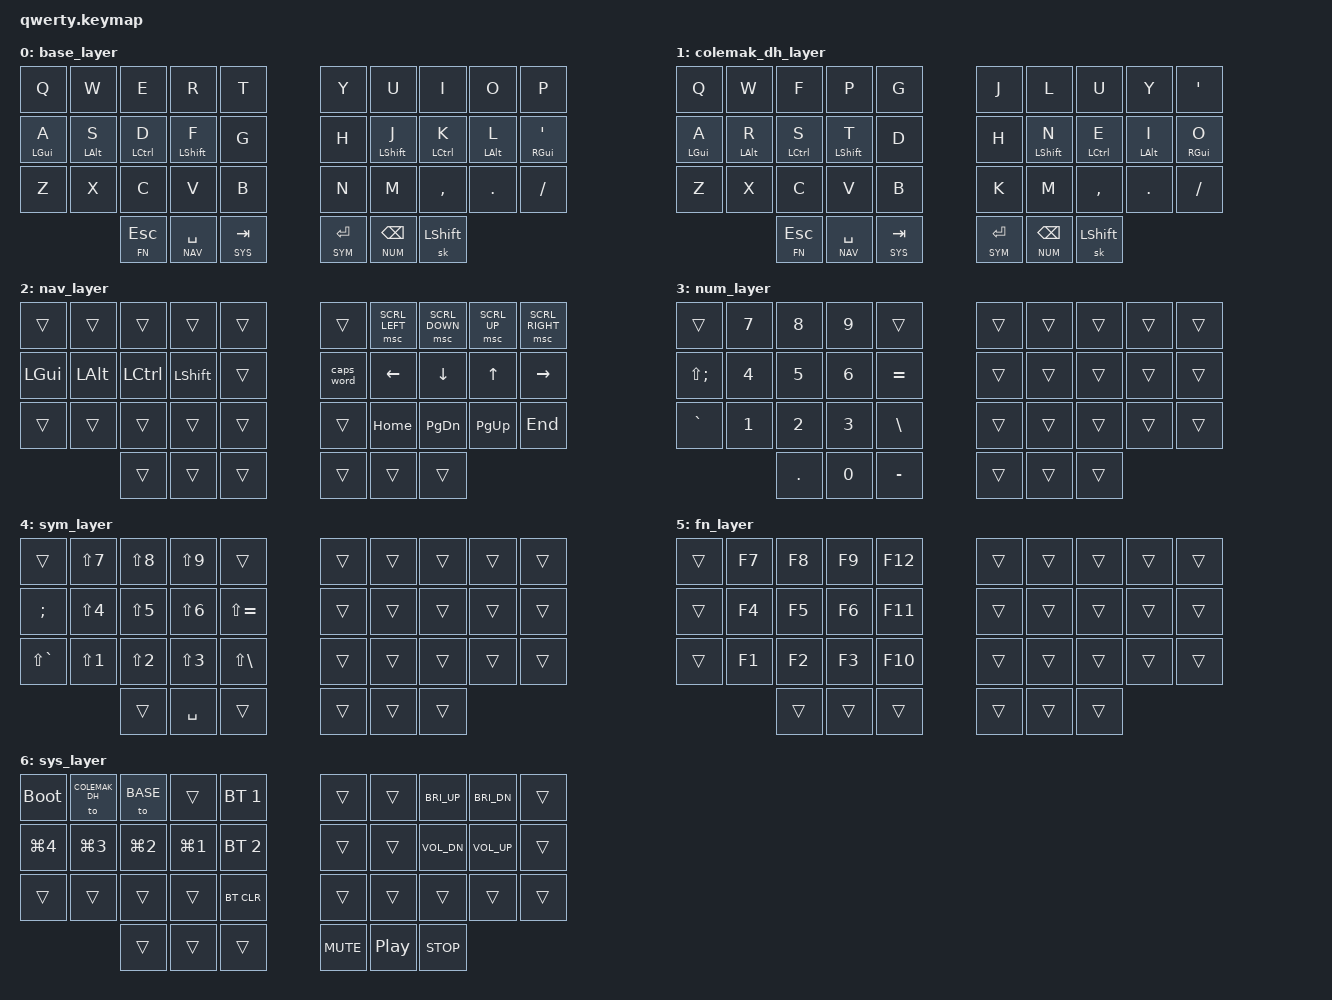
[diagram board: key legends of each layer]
#include <behaviors.dtsi>
#include <dt-bindings/zmk/bt.h>
#include <dt-bindings/zmk/keys.h>
#include <dt-bindings/zmk/mouse.h>
#include <dt-bindings/zmk/outputs.h>
#include <dt-bindings/zmk/ext_power.h>
#include <behaviors/mouse_keys.dtsi>

#define BASE 0
#define COLEMAK_DH 1
#define NAV  2
#define NUM  3
#define SYM  4
#define FN   5
#define SYS  6

/ {
    behaviors {
        hml: homerow_mods_left {
            compatible = "zmk,behavior-hold-tap";
            #binding-cells = <2>;
            tapping-term-ms = <200>;
            quick-tap-ms = <175>;
            require-prior-idle-ms = <300>;
            flavor = "balanced";
            bindings = <&kp>, <&kp>;
        };
        
        hmr: homerow_mods_right {
            compatible = "zmk,behavior-hold-tap";
            #binding-cells = <2>;
            tapping-term-ms = <200>;
            quick-tap-ms = <175>;
            require-prior-idle-ms = <300>;
            flavor = "balanced";
            bindings = <&kp>, <&kp>;
        };
    };

    combos {
        compatible = "zmk,combos";

        /* Left Hand Horizontal Combos */
        combo_ds_save {
            timeout-ms = <50>;
            key-positions = <11 12>;
            bindings = <&kp LC(S)>;
        };

        combo_dfg_cut {
            timeout-ms = <50>;
            key-positions = <12 13 14>;
            bindings = <&kp LC(LS(F))>;
        };

        combo_zx_copy {
            timeout-ms = <50>;
            key-positions = <21 22>;
            bindings = <&kp LC(Z)>;
        };

        combo_xc_copy {
            timeout-ms = <50>;
            key-positions = <22 23>;
            bindings = <&kp LC(X)>;
        };

        combo_cv_undo {
            timeout-ms = <50>;
            key-positions = <23 24>;
            bindings = <&kp LC(C)>;
        };

        combo_vb_undo {
            timeout-ms = <50>;
            key-positions = <24 25>;
            bindings = <&kp LC(V)>;
        };

        /* Right Hand Horizontal Combos */
        combo_ui_bksp {
            timeout-ms = <50>;
            key-positions = <6 7>;
            bindings = <&kp BSPC>;
        };

        combo_io_del {
            timeout-ms = <50>;
            key-positions = <7 8>;
            bindings = <&kp DEL>;
        };

        combo_jk_lparen {
            timeout-ms = <50>;
            key-positions = <16 17>;
            bindings = <&kp LPAR>;
        };

        combo_kl_rparen {
            timeout-ms = <50>;
            key-positions = <17 18>;
            bindings = <&kp RPAR>;
        };

        combo_mcom_lbrack {
            timeout-ms = <50>;
            key-positions = <27 28>;
            bindings = <&kp LBKT>;
        };

        combo_comdot_rbrack {
            timeout-ms = <50>;
            key-positions = <28 29>;
            bindings = <&kp RBKT>;
        };

        /* Right Hand Vertical Combos */
        combo_jm_dash {
            timeout-ms = <50>;
            key-positions = <16 27>;
            bindings = <&kp MINUS>;
        };

        combo_hn_unds {
            timeout-ms = <50>;
            key-positions = <15 26>;
            bindings = <&kp UNDER>;
        };

        combo_kcom_semi {
            timeout-ms = <50>;
            key-positions = <17 28>;
            bindings = <&kp SEMI>;
        };

        combo_ldot_coln {
            timeout-ms = <50>;
            key-positions = <18 29>;
            bindings = <&kp COLON>;
        };

        combo_slash_ques {
            timeout-ms = <50>;
            key-positions = <19 30>;
            bindings = <&kp QUESTION>;
        };
    };

    keymap {
        compatible = "zmk,keymap";

        base_layer {
            bindings = <
                &kp Q           &kp W           &kp E           &kp R           &kp T               &kp Y           &kp U           &kp I           &kp O           &kp P
                &hml LGUI A     &hml LALT S     &hml LCTRL D    &hml LSHFT F    &kp G               &kp H           &hmr LSHFT J    &hmr LCTRL K    &hmr LALT L     &hmr RGUI SQT
                &kp Z           &kp X           &kp C           &kp V           &kp B               &kp N           &kp M           &kp COMMA       &kp DOT         &kp FSLH           
                                                &lt FN ESC      &lt NAV SPACE   &lt SYS TAB         &lt SYM ENTER   &lt NUM BSPC    &sk LSHFT
            >;
        };

        colemak_dh_layer {
            bindings = <
                &kp Q           &kp W           &kp F           &kp P           &kp G               &kp J           &kp L           &kp U           &kp Y           &kp SQT
                &hml LGUI A     &hml LALT R     &hml LCTRL S    &hml LSHFT T    &kp D               &kp H           &hmr LSHFT N    &hmr LCTRL E    &hmr LALT I     &hmr RGUI O
                &kp Z           &kp X           &kp C           &kp V           &kp B               &kp K           &kp M           &kp COMMA       &kp DOT         &kp FSLH           
                                                &lt FN ESC      &lt NAV SPACE   &lt SYS TAB         &lt SYM ENTER   &lt NUM BSPC    &sk LSHFT
            >;
        };

        nav_layer {
            bindings = <
                &trans          &trans          &trans          &trans          &trans              &trans          &msc SCRL_LEFT  &msc SCRL_DOWN  &msc SCRL_UP    &msc SCRL_RIGHT
                &kp LGUI        &kp LALT        &kp LCTRL       &kp LSHFT       &trans              &caps_word      &kp LEFT        &kp DOWN        &kp UP          &kp RIGHT
                &trans          &trans          &trans          &trans          &trans              &trans          &kp HOME        &kp PG_DN       &kp PG_UP       &kp END            
                                                &trans          &trans          &trans              &trans          &trans          &trans
            >;
        };

        num_layer {
            bindings = <
                &trans          &kp N7          &kp N8          &kp N9          &trans              &trans          &trans          &trans          &trans          &trans
                &kp LS(SEMI)    &kp N4          &kp N5          &kp N6          &kp EQUAL           &trans          &trans          &trans          &trans          &trans
                &kp GRAVE       &kp N1          &kp N2          &kp N3          &kp BSLH            &trans          &trans          &trans          &trans          &trans         
                                                &kp DOT         &kp N0          &kp MINUS           &trans          &trans          &trans 
            >;
        };

        sym_layer {
            bindings = <
                &trans          &kp LS(N7)      &kp LS(N8)      &kp LS(N9)      &trans              &trans          &trans          &trans          &trans          &trans
                &kp SEMI        &kp LS(N4)      &kp LS(N5)      &kp LS(N6)      &kp LS(EQUAL)       &trans          &trans          &trans          &trans          &trans
                &kp LS(GRAVE)   &kp LS(N1)      &kp LS(N2)      &kp LS(N3)      &kp LS(BSLH)        &trans          &trans          &trans          &trans          &trans         
                                                &trans          &kp SPACE       &trans              &trans          &trans          &trans
            >;
        };

        fn_layer {
            bindings = <
                &trans          &kp F7          &kp F8          &kp F9          &kp F12             &trans          &trans          &trans          &trans          &trans
                &trans          &kp F4          &kp F5          &kp F6          &kp F11             &trans          &trans          &trans          &trans          &trans
                &trans          &kp F1          &kp F2          &kp F3          &kp F10             &trans          &trans          &trans          &trans          &trans         
                                                &trans          &trans          &trans              &trans          &trans          &trans
            >;
        };

        sys_layer {
            bindings = <
                &bootloader     &to COLEMAK_DH  &to BASE        &trans          &bt BT_SEL 1        &trans          &trans          &kp C_BRI_UP    &kp C_BRI_DN    &trans
                &kp LG(N4)      &kp LG(N3)      &kp LG(N2)      &kp LG(N1)      &bt BT_SEL 2        &trans          &trans          &kp C_VOL_DN    &kp C_VOL_UP    &trans
                &trans          &trans          &trans          &trans          &bt BT_CLR          &trans          &trans          &trans          &trans          &trans         
                                                &trans          &trans          &trans              &kp C_MUTE      &kp C_PP        &kp C_STOP
            >;
        };


    };
};

&sk {
    release-after-ms = <2000>;
    quick-release;
};
